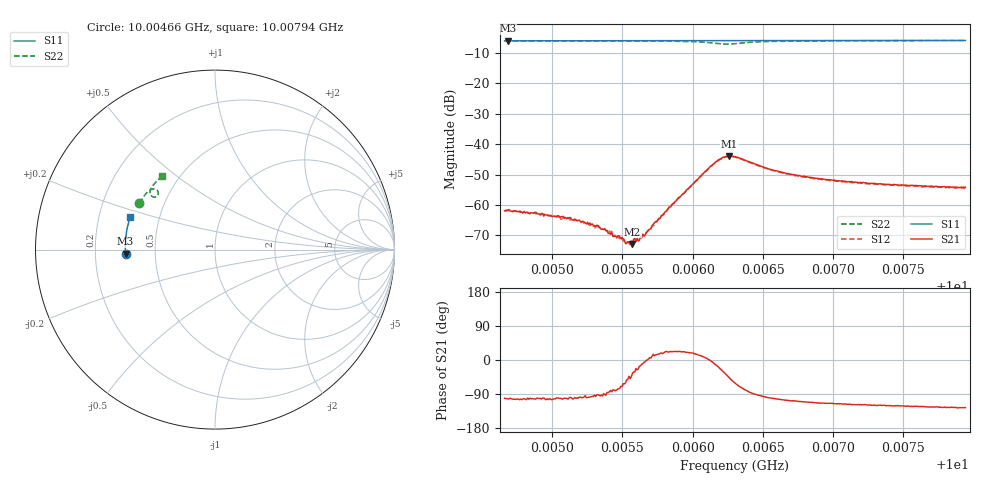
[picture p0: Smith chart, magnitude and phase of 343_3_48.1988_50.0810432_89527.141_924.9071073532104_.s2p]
#  HZ  S  RI  R  50.00
! Rohde & Schwarz Vector Network Analyzer
! Rohde-Schwarz,ZNB20-2Port,1311601062101988,3.16
! Created: UTC 3/20/2024, 11:51:23 AM
! freq[Hz]  re:S11  im:S11  re:S21  im:S21  re:S12  im:S12  re:S22  im:S22
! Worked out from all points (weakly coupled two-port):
!   401 points, 10.00466 GHz to 10.00794 GHz, reference 50 ohm
!   highest |S21| = -43.90 dB at 10.00626 GHz (marker M1); lowest = -72.8 dB at 10.00557 GHz (marker M2)
!   lowest |S11| = -6.0 dB at 10.00469 GHz (marker M3), VSWR 2.99, Z = 16.7 - j1 ohm
!   |S11| at or under -10 dB: nowhere
!   |S22| runs from -7.1 to -6.0 dB; largest |S21 - S12| = 0.00039
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1.0004661e10  -0.4986 -0.0241  -0.000153 -0.000785  -0.000116 -0.000798  -0.4207 0.2579
1.0004685e10  -0.4984 -0.0225  -0.000188 -0.000808  -0.000126 -0.000795  -0.4198 0.2591
1.0004948e10  -0.4996 -0.00543  -0.000159 -0.000686  -0.000139 -0.000689  -0.4107 0.2748
1.0005104e10  -0.4998 0.00458  -0.000118 -0.000579  -8.9e-05 -0.000592  -0.4049 0.284
1.000521e10  -0.5 0.0115  -9.1e-05 -0.000526  -3.96e-05 -0.000516  -0.4007 0.2904
1.0005325e10  -0.5 0.0188  -1.5e-05 -0.000461  8.7e-07 -0.000447  -0.396 0.2974
1.0005407e10  -0.5 0.0244  3.86e-05 -0.000343  1.17e-05 -0.000374  -0.3923 0.3022
1.0005448e10  -0.4998 0.027  4.78e-05 -0.000304  7.19e-05 -0.000309  -0.3904 0.3048
1.0005489e10  -0.4998 0.0296  9.86e-05 -0.000261  0.000133 -0.000271  -0.3884 0.3073
1.000553e10  -0.4996 0.0323  0.000142 -0.000184  0.000154 -0.000192  -0.3862 0.3098
1.0005572e10  -0.4994 0.0349  0.000188 -0.000132  0.000203 -0.000154  -0.3842 0.3124
1.0005613e10  -0.4993 0.0376  0.000234 -0.000101  0.000263 -7.86e-05  -0.382 0.315
1.000567e10  -0.4993 0.0414  0.00035 -4.34e-06  0.000354 -1.25e-05  -0.3784 0.3186
1.000576e10  -0.4989 0.0473  0.000582 0.000166  0.000553 0.000176  -0.3725 0.3242
1.0006121e10  -0.4965 0.0704  0.00417 -3.45e-05  0.00405 0.000151  -0.3244 0.3321
1.0006195e10  -0.4958 0.0751  0.00525 -0.0022  0.00525 -0.00194  -0.3157 0.313
1.0006261e10  -0.4953 0.079  0.00436 -0.00466  0.00444 -0.00434  -0.3273 0.2947
1.0006302e10  -0.4951 0.0815  0.00305 -0.00545  0.00324 -0.00516  -0.3399 0.2924
1.0006565e10  -0.4931 0.0984  -0.0007 -0.00371  -0.000546 -0.00369  -0.3603 0.3294
1.0006852e10  -0.4898 0.1167  -0.00103 -0.00263  -0.00092 -0.00258  -0.3482 0.354
1.0007402e10  -0.4814 0.151  -0.0011 -0.00188  -0.001 -0.00187  -0.3211 0.3851
1.0007943e10  -0.4708 0.1843  -0.00114 -0.00159  -0.00104 -0.0016  -0.2937 0.4093
